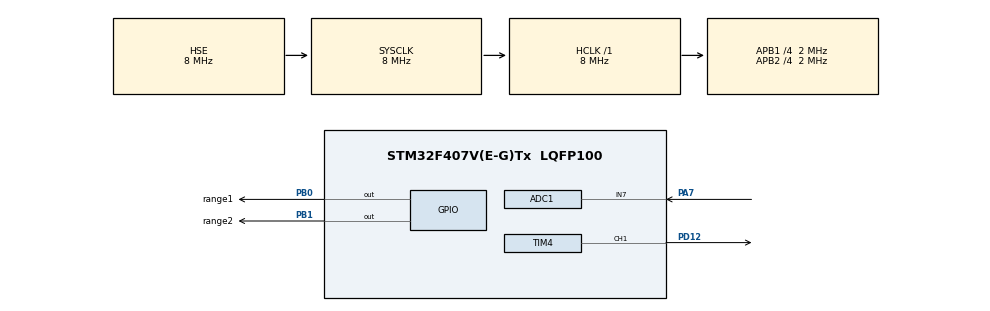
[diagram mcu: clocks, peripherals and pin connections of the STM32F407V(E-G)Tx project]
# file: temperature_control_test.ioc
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ADC1.Channel-0\#ChannelRegularConversion=ADC_CHANNEL_7
ADC1.NbrOfConversionFlag=1
ADC1.Rank-0\#ChannelRegularConversion=1
ADC1.SamplingTime-0\#ChannelRegularConversion=ADC_SAMPLETIME_15CYCLES
ADC1.master=1
Mcu.Family=STM32F4
Mcu.Name=STM32F407V(E-G)Tx
Mcu.Package=LQFP100
NVIC.PriorityGroup=NVIC_PRIORITYGROUP_4
PA7.Signal=ADCx_IN7
PB0.GPIO_Label=range1
PB0.Signal=GPIO_Output
PB1.GPIO_Label=range2
PB1.Signal=GPIO_Output
PD12.Signal=S_TIM4_CH1
PH0-OSC_IN.Mode=HSE-External-Oscillator
PH0-OSC_IN.Signal=RCC_OSC_IN
PH1-OSC_OUT.Mode=HSE-External-Oscillator
PH1-OSC_OUT.Signal=RCC_OSC_OUT
ProjectManager.HeapSize=0x200
ProjectManager.StackSize=0x400
ProjectManager.TargetToolchain=STM32CubeIDE
RCC.48MHZClocksFreq_Value=24000000
RCC.AHBFreq_Value=8000000
RCC.APB1CLKDivider=RCC_HCLK_DIV4
RCC.APB1Freq_Value=2000000
RCC.APB1TimFreq_Value=4000000
RCC.APB2CLKDivider=RCC_HCLK_DIV4
RCC.APB2Freq_Value=2000000
RCC.APB2TimFreq_Value=4000000
RCC.CortexFreq_Value=8000000
RCC.HCLKFreq_Value=8000000
RCC.HSE_VALUE=8000000
RCC.HSI_VALUE=16000000
RCC.LSE_VALUE=32768
RCC.PLLSourceVirtual=RCC_PLLSOURCE_HSE
RCC.SYSCLKFreq_VALUE=8000000
RCC.SYSCLKSource=RCC_SYSCLKSOURCE_HSE
RCC.VCOOutputFreq_Value=96000000
SH.ADCx_IN7.0=ADC1_IN7,IN7
SH.S_TIM4_CH1.0=TIM4_CH1,PWM Generation1 CH1
TIM4.Channel-PWM\ Generation1\ CH1=TIM_CHANNEL_1
TIM4.Period=1000
TIM4.Prescaler=4
board=custom

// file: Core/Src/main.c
/* USER CODE BEGIN Header */
/**
  ******************************************************************************
  * @file           : main.c
  * @brief          : Main program body
  ******************************************************************************
  * @attention
  *
  * Copyright (c) 2025 STMicroelectronics.
  * All rights reserved.
  *
  * This software is licensed under terms that can be found in the LICENSE file
  * in the root directory of this software component.
  * If no LICENSE file comes with this software, it is provided AS-IS.
  *
  ******************************************************************************
  */
/* USER CODE END Header */
#include "main.h"
#include "math.h"

/* USER CODE BEGIN PD */
#define logicVoltage 4.59
/* USER CODE END PD */

ADC_HandleTypeDef hadc1;

TIM_HandleTypeDef htim4;

/* USER CODE BEGIN PV */
uint16_t const rangeLow = 4095*0.25;
uint16_t const rangeHigh = 4095*0.8;
uint16_t adcValue = 0;

// reading constants
uint16_t const resistance[3] = {34350, 2220, 149}; //34350
double const paramA[3] = {5487.3, 84.1512, 4.2549};
double const paramB[3] = {72.6241, 371.3556, 827.1895};

uint32_t range[3] = {0x0, 0x1, 0x3};
uint8_t state = 0;
float termistorVoltage = 0;
float currentResistor = 0;
float termistorResistance = 0;
double calculatedTemperature = 0;
// Rt3 = A3.*exp(B3./Temperature(45:60));
// formula to digitalize

/* USER CODE END PV */

void SystemClock_Config(void);
static void MX_GPIO_Init(void);
static void MX_ADC1_Init(void);
static void MX_TIM4_Init(void);

int main(void)
{

  /* MCU Configuration--------------------------------------------------------*/

  /* Reset of all peripherals, Initializes the Flash interface and the Systick. */
  HAL_Init();

  /* Configure the system clock */
  SystemClock_Config();

  /* Initialize all configured peripherals */
  MX_GPIO_Init();
  MX_ADC1_Init();
  MX_TIM4_Init();
  /* USER CODE BEGIN 2 */

  // TODO new MOSFETS
  // Trying BS170p
  HAL_GPIO_WritePin(range1_GPIO_Port, range1_Pin, 0);
  HAL_GPIO_WritePin(range2_GPIO_Port, range2_Pin, 0);

  __HAL_TIM_SET_COMPARE(&htim4, TIM_CHANNEL_1, 0);
  HAL_TIM_PWM_Start(&htim4, TIM_CHANNEL_1);
  /* USER CODE END 2 */

  /* Infinite loop */
  /* USER CODE BEGIN WHILE */
  while (1)
  {
	  HAL_ADC_Start(&hadc1);
	  HAL_ADC_PollForConversion(&hadc1, 100);
	  adcValue = HAL_ADC_GetValue(&hadc1);
	  HAL_ADC_Stop(&hadc1);

	 /* if ((adcValue > rangeHigh) && state != 0){
		  state--;
		  GPIOB->ODR = range[state];
		  HAL_Delay(300);
		  continue;
	  }
	  else if ((adcValue < rangeLow) && state != 2){
		  state++;
		  GPIOB->ODR = range[state];
		  HAL_Delay(300);
		  continue;
	  }*/

	  // calculate termistor voltage drop
	  termistorVoltage = (adcValue/4095.0) * (logicVoltage - 1.61);
	  currentResistor = resistance[state];
	  termistorResistance = currentResistor * (termistorVoltage / ((logicVoltage - 1.61) - termistorVoltage));
	  calculatedTemperature = paramB[state] / (log(termistorResistance)-log(paramA[state]));
	  HAL_Delay(10);

    /* USER CODE END WHILE */

  }
}

void SystemClock_Config(void)
{
  RCC_OscInitTypeDef RCC_OscInitStruct = {0};
  RCC_ClkInitTypeDef RCC_ClkInitStruct = {0};

  /** Configure the main internal regulator output voltage
  */
  __HAL_RCC_PWR_CLK_ENABLE();
  __HAL_PWR_VOLTAGESCALING_CONFIG(PWR_REGULATOR_VOLTAGE_SCALE1);

  /** Initializes the RCC Oscillators according to the specified parameters
  * in the RCC_OscInitTypeDef structure.
  */
  RCC_OscInitStruct.OscillatorType = RCC_OSCILLATORTYPE_HSE;
  RCC_OscInitStruct.HSEState = RCC_HSE_ON;
  RCC_OscInitStruct.PLL.PLLState = RCC_PLL_NONE;
  if (HAL_RCC_OscConfig(&RCC_OscInitStruct) != HAL_OK)
  {
    Error_Handler();
  }

  /** Initializes the CPU, AHB and APB buses clocks
  */
  RCC_ClkInitStruct.ClockType = RCC_CLOCKTYPE_HCLK|RCC_CLOCKTYPE_SYSCLK
                              |RCC_CLOCKTYPE_PCLK1|RCC_CLOCKTYPE_PCLK2;
  RCC_ClkInitStruct.SYSCLKSource = RCC_SYSCLKSOURCE_HSE;
  RCC_ClkInitStruct.AHBCLKDivider = RCC_SYSCLK_DIV1;
  RCC_ClkInitStruct.APB1CLKDivider = RCC_HCLK_DIV4;
  RCC_ClkInitStruct.APB2CLKDivider = RCC_HCLK_DIV4;

  if (HAL_RCC_ClockConfig(&RCC_ClkInitStruct, FLASH_LATENCY_0) != HAL_OK)
  {
    Error_Handler();
  }
}

static void MX_ADC1_Init(void)
{

  ADC_ChannelConfTypeDef sConfig = {0};

  /** Configure the global features of the ADC (Clock, Resolution, Data Alignment and number of conversion)
  */
  hadc1.Instance = ADC1;
  hadc1.Init.ClockPrescaler = ADC_CLOCK_SYNC_PCLK_DIV2;
  hadc1.Init.Resolution = ADC_RESOLUTION_12B;
  hadc1.Init.ScanConvMode = DISABLE;
  hadc1.Init.ContinuousConvMode = DISABLE;
  hadc1.Init.DiscontinuousConvMode = DISABLE;
  hadc1.Init.ExternalTrigConvEdge = ADC_EXTERNALTRIGCONVEDGE_NONE;
  hadc1.Init.ExternalTrigConv = ADC_SOFTWARE_START;
  hadc1.Init.DataAlign = ADC_DATAALIGN_RIGHT;
  hadc1.Init.NbrOfConversion = 1;
  hadc1.Init.DMAContinuousRequests = DISABLE;
  hadc1.Init.EOCSelection = ADC_EOC_SINGLE_CONV;
  if (HAL_ADC_Init(&hadc1) != HAL_OK)
  {
    Error_Handler();
  }

  /** Configure for the selected ADC regular channel its corresponding rank in the sequencer and its sample time.
  */
  sConfig.Channel = ADC_CHANNEL_7;
  sConfig.Rank = 1;
  sConfig.SamplingTime = ADC_SAMPLETIME_15CYCLES;
  if (HAL_ADC_ConfigChannel(&hadc1, &sConfig) != HAL_OK)
  {
    Error_Handler();
  }

}

static void MX_TIM4_Init(void)
{

  TIM_MasterConfigTypeDef sMasterConfig = {0};
  TIM_OC_InitTypeDef sConfigOC = {0};

  htim4.Instance = TIM4;
  htim4.Init.Prescaler = 4;
  htim4.Init.CounterMode = TIM_COUNTERMODE_UP;
  htim4.Init.Period = 1000;
  htim4.Init.ClockDivision = TIM_CLOCKDIVISION_DIV1;
  htim4.Init.AutoReloadPreload = TIM_AUTORELOAD_PRELOAD_DISABLE;
  if (HAL_TIM_PWM_Init(&htim4) != HAL_OK)
  {
    Error_Handler();
  }
  sMasterConfig.MasterOutputTrigger = TIM_TRGO_RESET;
  sMasterConfig.MasterSlaveMode = TIM_MASTERSLAVEMODE_DISABLE;
  if (HAL_TIMEx_MasterConfigSynchronization(&htim4, &sMasterConfig) != HAL_OK)
  {
    Error_Handler();
  }
  sConfigOC.OCMode = TIM_OCMODE_PWM1;
  sConfigOC.Pulse = 0;
  sConfigOC.OCPolarity = TIM_OCPOLARITY_HIGH;
  sConfigOC.OCFastMode = TIM_OCFAST_DISABLE;
  if (HAL_TIM_PWM_ConfigChannel(&htim4, &sConfigOC, TIM_CHANNEL_1) != HAL_OK)
  {
    Error_Handler();
  }
  HAL_TIM_MspPostInit(&htim4);

}

static void MX_GPIO_Init(void)
{
  GPIO_InitTypeDef GPIO_InitStruct = {0};

  /* GPIO Ports Clock Enable */
  __HAL_RCC_GPIOH_CLK_ENABLE();
  __HAL_RCC_GPIOA_CLK_ENABLE();
  __HAL_RCC_GPIOB_CLK_ENABLE();
  __HAL_RCC_GPIOD_CLK_ENABLE();

  /*Configure GPIO pin Output Level */
  HAL_GPIO_WritePin(GPIOB, range1_Pin|range2_Pin, GPIO_PIN_RESET);

  /*Configure GPIO pins : range1_Pin range2_Pin */
  GPIO_InitStruct.Pin = range1_Pin|range2_Pin;
  GPIO_InitStruct.Mode = GPIO_MODE_OUTPUT_PP;
  GPIO_InitStruct.Pull = GPIO_NOPULL;
  GPIO_InitStruct.Speed = GPIO_SPEED_FREQ_LOW;
  HAL_GPIO_Init(GPIOB, &GPIO_InitStruct);

}

void Error_Handler(void)
{
  __disable_irq();
  while (1)
  {
  }
}
